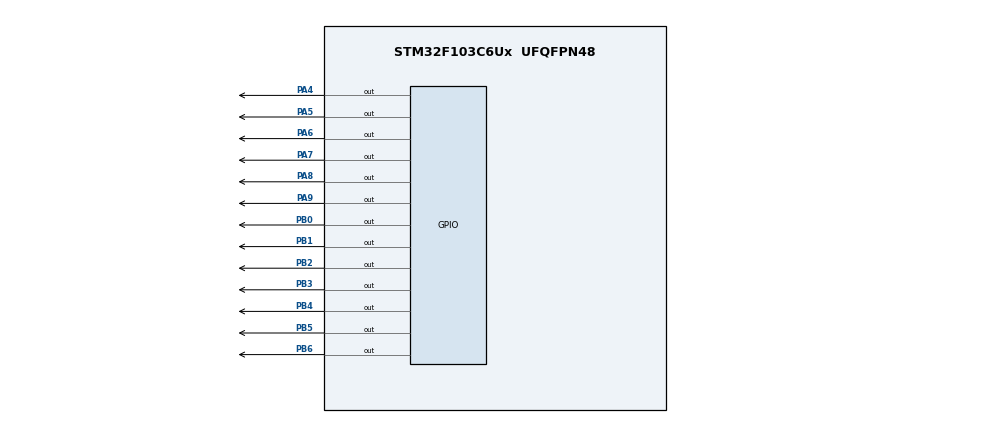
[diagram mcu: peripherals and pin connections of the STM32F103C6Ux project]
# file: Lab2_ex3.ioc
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Mcu.Family=STM32F1
Mcu.Name=STM32F103C6Ux
Mcu.Package=UFQFPN48
NVIC.PriorityGroup=NVIC_PRIORITYGROUP_4
NVIC.TIM2_IRQn=true\:0\:0\:false\:false\:true\:true\:true
PA4.Signal=GPIO_Output
PA5.Signal=GPIO_Output
PA6.Signal=GPIO_Output
PA7.Signal=GPIO_Output
PA8.Signal=GPIO_Output
PA9.Signal=GPIO_Output
PB0.Signal=GPIO_Output
PB1.Signal=GPIO_Output
PB2.Signal=GPIO_Output
PB3.Signal=GPIO_Output
PB4.Signal=GPIO_Output
PB5.Signal=GPIO_Output
PB6.Signal=GPIO_Output
ProjectManager.HeapSize=0x200
ProjectManager.StackSize=0x400
ProjectManager.TargetToolchain=STM32CubeIDE
RCC.APB1Freq_Value=8000000
RCC.APB2Freq_Value=8000000
TIM2.Period=499
TIM2.Prescaler=7999
VP_SYS_VS_ND.Mode=No_Debug
VP_TIM2_VS_ClockSourceINT.Mode=Internal
board=custom

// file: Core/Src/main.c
/* USER CODE BEGIN Header */
/**
  ******************************************************************************
  * @file           : main.c
  * @brief          : Main program body
  ******************************************************************************
  * @attention
  *
  * <h2><center>&copy; Copyright (c) 2025 STMicroelectronics.
  * All rights reserved.</center></h2>
  *
  * This software component is licensed by ST under BSD 3-Clause license,
  * the "License"; You may not use this file except in compliance with the
  * License. You may obtain a copy of the License at:
  *                        opensource.org/licenses/BSD-3-Clause
  *
  ******************************************************************************
  */
/* USER CODE END Header */
#include "main.h"

TIM_HandleTypeDef htim2;

void SystemClock_Config(void);
static void MX_GPIO_Init(void);
static void MX_TIM2_Init(void);

/* USER CODE BEGIN 0 */
void display7SEG(uint8_t num){
	if (num > 9) return;
	switch (num)
	{
	case 0:
		HAL_GPIO_WritePin(GPIOB, GPIO_PIN_0, GPIO_PIN_RESET);
		HAL_GPIO_WritePin(GPIOB, GPIO_PIN_1, GPIO_PIN_RESET);
		HAL_GPIO_WritePin(GPIOB, GPIO_PIN_2, GPIO_PIN_RESET);
		HAL_GPIO_WritePin(GPIOB, GPIO_PIN_3, GPIO_PIN_RESET);
		HAL_GPIO_WritePin(GPIOB, GPIO_PIN_4, GPIO_PIN_RESET);
		HAL_GPIO_WritePin(GPIOB, GPIO_PIN_5, GPIO_PIN_RESET);
		HAL_GPIO_WritePin(GPIOB, GPIO_PIN_6, GPIO_PIN_SET);
		break;
	case 1:
		HAL_GPIO_WritePin(GPIOB, GPIO_PIN_0, GPIO_PIN_SET);
		HAL_GPIO_WritePin(GPIOB, GPIO_PIN_1, GPIO_PIN_RESET);
		HAL_GPIO_WritePin(GPIOB, GPIO_PIN_2, GPIO_PIN_RESET);
		HAL_GPIO_WritePin(GPIOB, GPIO_PIN_3, GPIO_PIN_SET);
		HAL_GPIO_WritePin(GPIOB, GPIO_PIN_4, GPIO_PIN_SET);
		HAL_GPIO_WritePin(GPIOB, GPIO_PIN_5, GPIO_PIN_SET);
		HAL_GPIO_WritePin(GPIOB, GPIO_PIN_6, GPIO_PIN_SET);
		break;
	case 2:
		HAL_GPIO_WritePin(GPIOB, GPIO_PIN_0, GPIO_PIN_RESET);
		HAL_GPIO_WritePin(GPIOB, GPIO_PIN_1, GPIO_PIN_RESET);
		HAL_GPIO_WritePin(GPIOB, GPIO_PIN_2, GPIO_PIN_SET);
		HAL_GPIO_WritePin(GPIOB, GPIO_PIN_3, GPIO_PIN_RESET);
		HAL_GPIO_WritePin(GPIOB, GPIO_PIN_4, GPIO_PIN_RESET);
		HAL_GPIO_WritePin(GPIOB, GPIO_PIN_5, GPIO_PIN_SET);
		HAL_GPIO_WritePin(GPIOB, GPIO_PIN_6, GPIO_PIN_RESET);
		break;
	case 3:
		HAL_GPIO_WritePin(GPIOB, GPIO_PIN_0, GPIO_PIN_RESET);
		HAL_GPIO_WritePin(GPIOB, GPIO_PIN_1, GPIO_PIN_RESET);
		HAL_GPIO_WritePin(GPIOB, GPIO_PIN_2, GPIO_PIN_RESET);
		HAL_GPIO_WritePin(GPIOB, GPIO_PIN_3, GPIO_PIN_RESET);
		HAL_GPIO_WritePin(GPIOB, GPIO_PIN_4, GPIO_PIN_SET);
		HAL_GPIO_WritePin(GPIOB, GPIO_PIN_5, GPIO_PIN_SET);
		HAL_GPIO_WritePin(GPIOB, GPIO_PIN_6, GPIO_PIN_RESET);
		break;
	case 4:
        HAL_GPIO_WritePin(GPIOB, GPIO_PIN_0, GPIO_PIN_SET);
        HAL_GPIO_WritePin(GPIOB, GPIO_PIN_1, GPIO_PIN_RESET);
        HAL_GPIO_WritePin(GPIOB, GPIO_PIN_2, GPIO_PIN_RESET);
        HAL_GPIO_WritePin(GPIOB, GPIO_PIN_3, GPIO_PIN_SET);
        HAL_GPIO_WritePin(GPIOB, GPIO_PIN_4, GPIO_PIN_SET);
        HAL_GPIO_WritePin(GPIOB, GPIO_PIN_5, GPIO_PIN_RESET);
        HAL_GPIO_WritePin(GPIOB, GPIO_PIN_6, GPIO_PIN_RESET);
        break;
	case 5:
		HAL_GPIO_WritePin(GPIOB, GPIO_PIN_0, GPIO_PIN_RESET);
		HAL_GPIO_WritePin(GPIOB, GPIO_PIN_1, GPIO_PIN_SET);
		HAL_GPIO_WritePin(GPIOB, GPIO_PIN_2, GPIO_PIN_RESET);
		HAL_GPIO_WritePin(GPIOB, GPIO_PIN_3, GPIO_PIN_RESET);
		HAL_GPIO_WritePin(GPIOB, GPIO_PIN_4, GPIO_PIN_SET);
		HAL_GPIO_WritePin(GPIOB, GPIO_PIN_5, GPIO_PIN_RESET);
		HAL_GPIO_WritePin(GPIOB, GPIO_PIN_6, GPIO_PIN_RESET);
		break;
	case 6:
		HAL_GPIO_WritePin(GPIOB, GPIO_PIN_0, GPIO_PIN_RESET);
		HAL_GPIO_WritePin(GPIOB, GPIO_PIN_1, GPIO_PIN_SET);
		HAL_GPIO_WritePin(GPIOB, GPIO_PIN_2, GPIO_PIN_RESET);
		HAL_GPIO_WritePin(GPIOB, GPIO_PIN_3, GPIO_PIN_RESET);
		HAL_GPIO_WritePin(GPIOB, GPIO_PIN_4, GPIO_PIN_RESET);
		HAL_GPIO_WritePin(GPIOB, GPIO_PIN_5, GPIO_PIN_RESET);
		HAL_GPIO_WritePin(GPIOB, GPIO_PIN_6, GPIO_PIN_RESET);
		break;
	case 7:
		HAL_GPIO_WritePin(GPIOB, GPIO_PIN_0, GPIO_PIN_RESET);
		HAL_GPIO_WritePin(GPIOB, GPIO_PIN_1, GPIO_PIN_RESET);
		HAL_GPIO_WritePin(GPIOB, GPIO_PIN_2, GPIO_PIN_RESET);
		HAL_GPIO_WritePin(GPIOB, GPIO_PIN_3, GPIO_PIN_SET);
		HAL_GPIO_WritePin(GPIOB, GPIO_PIN_4, GPIO_PIN_SET);
		HAL_GPIO_WritePin(GPIOB, GPIO_PIN_5, GPIO_PIN_SET);
		HAL_GPIO_WritePin(GPIOB, GPIO_PIN_6, GPIO_PIN_SET);
		break;
	case 8:
		HAL_GPIO_WritePin(GPIOB, GPIO_PIN_0, GPIO_PIN_RESET);
		HAL_GPIO_WritePin(GPIOB, GPIO_PIN_1, GPIO_PIN_RESET);
		HAL_GPIO_WritePin(GPIOB, GPIO_PIN_2, GPIO_PIN_RESET);
		HAL_GPIO_WritePin(GPIOB, GPIO_PIN_3, GPIO_PIN_RESET);
		HAL_GPIO_WritePin(GPIOB, GPIO_PIN_4, GPIO_PIN_RESET);
		HAL_GPIO_WritePin(GPIOB, GPIO_PIN_5, GPIO_PIN_RESET);
		HAL_GPIO_WritePin(GPIOB, GPIO_PIN_6, GPIO_PIN_RESET);
		break;
	case 9:
		HAL_GPIO_WritePin(GPIOB, GPIO_PIN_0, GPIO_PIN_RESET);
		HAL_GPIO_WritePin(GPIOB, GPIO_PIN_1, GPIO_PIN_RESET);
		HAL_GPIO_WritePin(GPIOB, GPIO_PIN_2, GPIO_PIN_RESET);
		HAL_GPIO_WritePin(GPIOB, GPIO_PIN_3, GPIO_PIN_RESET);
		HAL_GPIO_WritePin(GPIOB, GPIO_PIN_4, GPIO_PIN_SET);
		HAL_GPIO_WritePin(GPIOB, GPIO_PIN_5, GPIO_PIN_RESET);
		HAL_GPIO_WritePin(GPIOB, GPIO_PIN_6, GPIO_PIN_RESET);
		break;
	default:
		HAL_GPIO_WritePin(GPIOB, GPIO_PIN_0, GPIO_PIN_SET);
		HAL_GPIO_WritePin(GPIOB, GPIO_PIN_1, GPIO_PIN_SET);
		HAL_GPIO_WritePin(GPIOB, GPIO_PIN_2, GPIO_PIN_SET);
		HAL_GPIO_WritePin(GPIOB, GPIO_PIN_3, GPIO_PIN_SET);
		HAL_GPIO_WritePin(GPIOB, GPIO_PIN_4, GPIO_PIN_SET);
		HAL_GPIO_WritePin(GPIOB, GPIO_PIN_5, GPIO_PIN_SET);
		HAL_GPIO_WritePin(GPIOB, GPIO_PIN_6, GPIO_PIN_SET);
		break;
	}
}

const int MAX_LED = 4;
int index_led = 0;
int led_buffer[4] = {1, 2, 3, 4};

void update7SEG(int index) {
    // Turn off all EN pins before updating
    HAL_GPIO_WritePin(GPIOA, GPIO_PIN_6 | GPIO_PIN_7 | GPIO_PIN_8 | GPIO_PIN_9, GPIO_PIN_SET);

    switch(index) {
        case 0:
            display7SEG(led_buffer[0]);
            HAL_GPIO_WritePin(GPIOA, GPIO_PIN_6, GPIO_PIN_RESET);
            HAL_GPIO_WritePin(GPIOA, GPIO_PIN_5, GPIO_PIN_RESET);
            break;
        case 1:
            display7SEG(led_buffer[1]);
            HAL_GPIO_WritePin(GPIOA, GPIO_PIN_7, GPIO_PIN_RESET);
            HAL_GPIO_WritePin(GPIOA, GPIO_PIN_5, GPIO_PIN_SET);
            break;
        case 2:
            display7SEG(led_buffer[2]);
            HAL_GPIO_WritePin(GPIOA, GPIO_PIN_8, GPIO_PIN_RESET);
            HAL_GPIO_WritePin(GPIOA, GPIO_PIN_5, GPIO_PIN_RESET);
            break;
        case 3:
            display7SEG(led_buffer[3]);
            HAL_GPIO_WritePin(GPIOA, GPIO_PIN_9, GPIO_PIN_RESET);
            HAL_GPIO_WritePin(GPIOA, GPIO_PIN_5, GPIO_PIN_SET);
            break;
        default:
            break;
    }
}

uint8_t dot_state = 0;
uint8_t counter = 0;
void HAL_TIM_PeriodElapsedCallback(TIM_HandleTypeDef *htim) {
    if(htim->Instance == TIM2) {
        update7SEG(index_led);

        index_led++;
        if(index_led >= MAX_LED) index_led = 0;

        counter++;
        if(counter >= 2) {
            counter = 0;
            dot_state = !dot_state;
            HAL_GPIO_WritePin(GPIOA, GPIO_PIN_4, dot_state);
        }
    }
}

/* USER CODE END 0 */

int main(void)
{

  /* MCU Configuration--------------------------------------------------------*/

  /* Reset of all peripherals, Initializes the Flash interface and the Systick. */
  HAL_Init();

  /* Configure the system clock */
  SystemClock_Config();

  /* Initialize all configured peripherals */
  MX_GPIO_Init();
  MX_TIM2_Init();
  /* USER CODE BEGIN 2 */
  HAL_TIM_Base_Start_IT(&htim2);
  /* USER CODE END 2 */

  /* Infinite loop */
  while (1)
  {

  }
}

void SystemClock_Config(void)
{
  RCC_OscInitTypeDef RCC_OscInitStruct = {0};
  RCC_ClkInitTypeDef RCC_ClkInitStruct = {0};

  /** Initializes the RCC Oscillators according to the specified parameters
  * in the RCC_OscInitTypeDef structure.
  */
  RCC_OscInitStruct.OscillatorType = RCC_OSCILLATORTYPE_HSI;
  RCC_OscInitStruct.HSIState = RCC_HSI_ON;
  RCC_OscInitStruct.HSICalibrationValue = RCC_HSICALIBRATION_DEFAULT;
  RCC_OscInitStruct.PLL.PLLState = RCC_PLL_NONE;
  if (HAL_RCC_OscConfig(&RCC_OscInitStruct) != HAL_OK)
  {
    Error_Handler();
  }
  /** Initializes the CPU, AHB and APB buses clocks
  */
  RCC_ClkInitStruct.ClockType = RCC_CLOCKTYPE_HCLK|RCC_CLOCKTYPE_SYSCLK
                              |RCC_CLOCKTYPE_PCLK1|RCC_CLOCKTYPE_PCLK2;
  RCC_ClkInitStruct.SYSCLKSource = RCC_SYSCLKSOURCE_HSI;
  RCC_ClkInitStruct.AHBCLKDivider = RCC_SYSCLK_DIV1;
  RCC_ClkInitStruct.APB1CLKDivider = RCC_HCLK_DIV1;
  RCC_ClkInitStruct.APB2CLKDivider = RCC_HCLK_DIV1;

  if (HAL_RCC_ClockConfig(&RCC_ClkInitStruct, FLASH_LATENCY_0) != HAL_OK)
  {
    Error_Handler();
  }
}

static void MX_TIM2_Init(void)
{

  TIM_ClockConfigTypeDef sClockSourceConfig = {0};
  TIM_MasterConfigTypeDef sMasterConfig = {0};

  htim2.Instance = TIM2;
  htim2.Init.Prescaler = 7999;
  htim2.Init.CounterMode = TIM_COUNTERMODE_UP;
  htim2.Init.Period = 499;
  htim2.Init.ClockDivision = TIM_CLOCKDIVISION_DIV1;
  htim2.Init.AutoReloadPreload = TIM_AUTORELOAD_PRELOAD_DISABLE;
  if (HAL_TIM_Base_Init(&htim2) != HAL_OK)
  {
    Error_Handler();
  }
  sClockSourceConfig.ClockSource = TIM_CLOCKSOURCE_INTERNAL;
  if (HAL_TIM_ConfigClockSource(&htim2, &sClockSourceConfig) != HAL_OK)
  {
    Error_Handler();
  }
  sMasterConfig.MasterOutputTrigger = TIM_TRGO_RESET;
  sMasterConfig.MasterSlaveMode = TIM_MASTERSLAVEMODE_DISABLE;
  if (HAL_TIMEx_MasterConfigSynchronization(&htim2, &sMasterConfig) != HAL_OK)
  {
    Error_Handler();
  }

}

static void MX_GPIO_Init(void)
{
  GPIO_InitTypeDef GPIO_InitStruct = {0};

  /* GPIO Ports Clock Enable */
  __HAL_RCC_GPIOA_CLK_ENABLE();
  __HAL_RCC_GPIOB_CLK_ENABLE();

  /*Configure GPIO pin Output Level */
  HAL_GPIO_WritePin(GPIOA, GPIO_PIN_4|GPIO_PIN_5|GPIO_PIN_6|GPIO_PIN_7
                          |GPIO_PIN_8|GPIO_PIN_9, GPIO_PIN_SET);

  /*Configure GPIO pin Output Level */
  HAL_GPIO_WritePin(GPIOB, GPIO_PIN_0|GPIO_PIN_1|GPIO_PIN_2|GPIO_PIN_3
                          |GPIO_PIN_4|GPIO_PIN_5|GPIO_PIN_6, GPIO_PIN_SET);

  /*Configure GPIO pins : PA4 PA5 PA6 PA7
                           PA8 PA9 */
  GPIO_InitStruct.Pin = GPIO_PIN_4|GPIO_PIN_5|GPIO_PIN_6|GPIO_PIN_7
                          |GPIO_PIN_8|GPIO_PIN_9;
  GPIO_InitStruct.Mode = GPIO_MODE_OUTPUT_PP;
  GPIO_InitStruct.Pull = GPIO_NOPULL;
  GPIO_InitStruct.Speed = GPIO_SPEED_FREQ_LOW;
  HAL_GPIO_Init(GPIOA, &GPIO_InitStruct);

  /*Configure GPIO pins : PB0 PB1 PB2 PB3
                           PB4 PB5 PB6 */
  GPIO_InitStruct.Pin = GPIO_PIN_0|GPIO_PIN_1|GPIO_PIN_2|GPIO_PIN_3
                          |GPIO_PIN_4|GPIO_PIN_5|GPIO_PIN_6;
  GPIO_InitStruct.Mode = GPIO_MODE_OUTPUT_PP;
  GPIO_InitStruct.Pull = GPIO_NOPULL;
  GPIO_InitStruct.Speed = GPIO_SPEED_FREQ_LOW;
  HAL_GPIO_Init(GPIOB, &GPIO_InitStruct);

}

void Error_Handler(void)
{
  __disable_irq();
  while (1)
  {
  }
}

/************************ (C) COPYRIGHT STMicroelectronics *****END OF FILE****/
